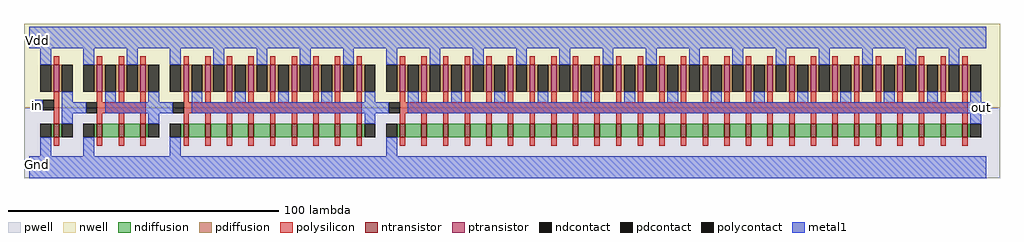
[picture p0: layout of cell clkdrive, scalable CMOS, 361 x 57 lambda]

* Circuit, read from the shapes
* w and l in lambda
.subckt clkdrive Gnd Vdd in out
M1 n1 in Gnd VSUBS nfet w=5 l=2
M2 n2 n1 Gnd VSUBS nfet w=5 l=2
M3 n3 n1 n2 VSUBS nfet w=5 l=2
M4 n4 n1 n3 VSUBS nfet w=5 l=2
M5 n5 n4 Gnd VSUBS nfet w=5 l=2
M6 n6 n4 n5 VSUBS nfet w=5 l=2
M7 n7 n4 n6 VSUBS nfet w=5 l=2
M8 n8 n4 n7 VSUBS nfet w=5 l=2
M9 n9 n4 n8 VSUBS nfet w=5 l=2
M10 n10 n4 n9 VSUBS nfet w=5 l=2
M11 n11 n4 n10 VSUBS nfet w=5 l=2
M12 n12 n4 n11 VSUBS nfet w=5 l=2
M13 n13 n4 n12 VSUBS nfet w=5 l=2
M14 n14 n13 Gnd VSUBS nfet w=5 l=2
M15 n15 n13 n14 VSUBS nfet w=5 l=2
M16 n16 n13 n15 VSUBS nfet w=5 l=2
M17 n17 n13 n16 VSUBS nfet w=5 l=2
M18 n18 n13 n17 VSUBS nfet w=5 l=2
M19 n19 n13 n18 VSUBS nfet w=5 l=2
M20 n20 n13 n19 VSUBS nfet w=5 l=2
M21 n21 n13 n20 VSUBS nfet w=5 l=2
M22 n22 n13 n21 VSUBS nfet w=5 l=2
M23 n23 n13 n22 VSUBS nfet w=5 l=2
M24 n24 n13 n23 VSUBS nfet w=5 l=2
M25 n25 n13 n24 VSUBS nfet w=5 l=2
M26 n26 n13 n25 VSUBS nfet w=5 l=2
M27 n27 n13 n26 VSUBS nfet w=5 l=2
M28 n28 n13 n27 VSUBS nfet w=5 l=2
M29 n29 n13 n28 VSUBS nfet w=5 l=2
M30 n30 n13 n29 VSUBS nfet w=5 l=2
M31 n31 n13 n30 VSUBS nfet w=5 l=2
M32 n32 n13 n31 VSUBS nfet w=5 l=2
M33 n33 n13 n32 VSUBS nfet w=5 l=2
M34 n34 n13 n33 VSUBS nfet w=5 l=2
M35 n35 n13 n34 VSUBS nfet w=5 l=2
M36 n36 n13 n35 VSUBS nfet w=5 l=2
M37 n37 n13 n36 VSUBS nfet w=5 l=2
M38 n38 n13 n37 VSUBS nfet w=5 l=2
M39 n39 n13 n38 VSUBS nfet w=5 l=2
M40 out n13 n39 VSUBS nfet w=5 l=2
M41 n1 in Vdd n40 pfet w=10 l=2
M42 n4 n1 Vdd n40 pfet w=10 l=2 m=3
M43 n13 n4 Vdd n40 pfet w=10 l=2 m=9
M44 out n13 Vdd n40 pfet w=10 l=2 m=27
.ends

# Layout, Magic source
magic
tech scmos
<< nwell >>
rect -35 1 326 32
<< pwell >>
rect -35 -25 326 1
<< ntransistor >>
rect -24 -10 -22 -5
rect -8 -10 -6 -5
rect 0 -10 2 -5
rect 8 -10 10 -5
rect 24 -10 26 -5
rect 32 -10 34 -5
rect 40 -10 42 -5
rect 48 -10 50 -5
rect 56 -10 58 -5
rect 64 -10 66 -5
rect 72 -10 74 -5
rect 80 -10 82 -5
rect 88 -10 90 -5
rect 104 -10 106 -5
rect 112 -10 114 -5
rect 120 -10 122 -5
rect 128 -10 130 -5
rect 136 -10 138 -5
rect 144 -10 146 -5
rect 152 -10 154 -5
rect 160 -10 162 -5
rect 168 -10 170 -5
rect 176 -10 178 -5
rect 184 -10 186 -5
rect 192 -10 194 -5
rect 200 -10 202 -5
rect 208 -10 210 -5
rect 216 -10 218 -5
rect 224 -10 226 -5
rect 232 -10 234 -5
rect 240 -10 242 -5
rect 248 -10 250 -5
rect 256 -10 258 -5
rect 264 -10 266 -5
rect 272 -10 274 -5
rect 280 -10 282 -5
rect 288 -10 290 -5
rect 296 -10 298 -5
rect 304 -10 306 -5
rect 312 -10 314 -5
<< ptransistor >>
rect -24 7 -22 17
rect -8 7 -6 17
rect 0 7 2 17
rect 8 7 10 17
rect 24 7 26 17
rect 32 7 34 17
rect 40 7 42 17
rect 48 7 50 17
rect 56 7 58 17
rect 64 7 66 17
rect 72 7 74 17
rect 80 7 82 17
rect 88 7 90 17
rect 104 7 106 17
rect 112 7 114 17
rect 120 7 122 17
rect 128 7 130 17
rect 136 7 138 17
rect 144 7 146 17
rect 152 7 154 17
rect 160 7 162 17
rect 168 7 170 17
rect 176 7 178 17
rect 184 7 186 17
rect 192 7 194 17
rect 200 7 202 17
rect 208 7 210 17
rect 216 7 218 17
rect 224 7 226 17
rect 232 7 234 17
rect 240 7 242 17
rect 248 7 250 17
rect 256 7 258 17
rect 264 7 266 17
rect 272 7 274 17
rect 280 7 282 17
rect 288 7 290 17
rect 296 7 298 17
rect 304 7 306 17
rect 312 7 314 17
<< ndiffusion >>
rect -25 -10 -24 -5
rect -22 -10 -21 -5
rect -9 -10 -8 -5
rect -6 -10 0 -5
rect 2 -10 8 -5
rect 10 -10 11 -5
rect 23 -10 24 -5
rect 26 -10 32 -5
rect 34 -10 40 -5
rect 42 -10 48 -5
rect 50 -10 56 -5
rect 58 -10 64 -5
rect 66 -10 72 -5
rect 74 -10 80 -5
rect 82 -10 88 -5
rect 90 -10 91 -5
rect 103 -10 104 -5
rect 106 -10 112 -5
rect 114 -10 120 -5
rect 122 -10 128 -5
rect 130 -10 136 -5
rect 138 -10 144 -5
rect 146 -10 152 -5
rect 154 -10 160 -5
rect 162 -10 168 -5
rect 170 -10 176 -5
rect 178 -10 184 -5
rect 186 -10 192 -5
rect 194 -10 200 -5
rect 202 -10 208 -5
rect 210 -10 216 -5
rect 218 -10 224 -5
rect 226 -10 232 -5
rect 234 -10 240 -5
rect 242 -10 248 -5
rect 250 -10 256 -5
rect 258 -10 264 -5
rect 266 -10 272 -5
rect 274 -10 280 -5
rect 282 -10 288 -5
rect 290 -10 296 -5
rect 298 -10 304 -5
rect 306 -10 312 -5
rect 314 -10 315 -5
<< pdiffusion >>
rect -25 7 -24 17
rect -22 7 -21 17
rect -9 7 -8 17
rect -6 7 -5 17
rect -1 7 0 17
rect 2 7 3 17
rect 7 7 8 17
rect 10 7 11 17
rect 23 7 24 17
rect 26 7 27 17
rect 31 7 32 17
rect 34 7 35 17
rect 39 7 40 17
rect 42 7 43 17
rect 47 7 48 17
rect 50 7 51 17
rect 55 7 56 17
rect 58 7 59 17
rect 63 7 64 17
rect 66 7 67 17
rect 71 7 72 17
rect 74 7 75 17
rect 79 7 80 17
rect 82 7 83 17
rect 87 7 88 17
rect 90 7 91 17
rect 103 7 104 17
rect 106 7 107 17
rect 111 7 112 17
rect 114 7 115 17
rect 119 7 120 17
rect 122 7 123 17
rect 127 7 128 17
rect 130 7 131 17
rect 135 7 136 17
rect 138 7 139 17
rect 143 7 144 17
rect 146 7 147 17
rect 151 7 152 17
rect 154 7 155 17
rect 159 7 160 17
rect 162 7 163 17
rect 167 7 168 17
rect 170 7 171 17
rect 175 7 176 17
rect 178 7 179 17
rect 183 7 184 17
rect 186 7 187 17
rect 191 7 192 17
rect 194 7 195 17
rect 199 7 200 17
rect 202 7 203 17
rect 207 7 208 17
rect 210 7 211 17
rect 215 7 216 17
rect 218 7 219 17
rect 223 7 224 17
rect 226 7 227 17
rect 231 7 232 17
rect 234 7 235 17
rect 239 7 240 17
rect 242 7 243 17
rect 247 7 248 17
rect 250 7 251 17
rect 255 7 256 17
rect 258 7 259 17
rect 263 7 264 17
rect 266 7 267 17
rect 271 7 272 17
rect 274 7 275 17
rect 279 7 280 17
rect 282 7 283 17
rect 287 7 288 17
rect 290 7 291 17
rect 295 7 296 17
rect 298 7 299 17
rect 303 7 304 17
rect 306 7 307 17
rect 311 7 312 17
rect 314 7 315 17
<< ndcontact >>
rect -29 -10 -25 -5
rect -21 -10 -17 -5
rect -13 -10 -9 -5
rect 11 -10 15 -5
rect 19 -10 23 -5
rect 91 -10 95 -5
rect 99 -10 103 -5
rect 315 -10 319 -5
<< pdcontact >>
rect -29 7 -25 17
rect -21 7 -17 17
rect -13 7 -9 17
rect -5 7 -1 17
rect 3 7 7 17
rect 11 7 15 17
rect 19 7 23 17
rect 27 7 31 17
rect 35 7 39 17
rect 43 7 47 17
rect 51 7 55 17
rect 59 7 63 17
rect 67 7 71 17
rect 75 7 79 17
rect 83 7 87 17
rect 91 7 95 17
rect 99 7 103 17
rect 107 7 111 17
rect 115 7 119 17
rect 123 7 127 17
rect 131 7 135 17
rect 139 7 143 17
rect 147 7 151 17
rect 155 7 159 17
rect 163 7 167 17
rect 171 7 175 17
rect 179 7 183 17
rect 187 7 191 17
rect 195 7 199 17
rect 203 7 207 17
rect 211 7 215 17
rect 219 7 223 17
rect 227 7 231 17
rect 235 7 239 17
rect 243 7 247 17
rect 251 7 255 17
rect 259 7 263 17
rect 267 7 271 17
rect 275 7 279 17
rect 283 7 287 17
rect 291 7 295 17
rect 299 7 303 17
rect 307 7 311 17
rect 315 7 319 17
<< polysilicon >>
rect -24 17 -22 20
rect -8 17 -6 20
rect 0 17 2 20
rect 8 17 10 20
rect 24 17 26 20
rect 32 17 34 20
rect 40 17 42 20
rect 48 17 50 20
rect 56 17 58 20
rect 64 17 66 20
rect 72 17 74 20
rect 80 17 82 20
rect 88 17 90 20
rect 104 17 106 20
rect 112 17 114 20
rect 120 17 122 20
rect 128 17 130 20
rect 136 17 138 20
rect 144 17 146 20
rect 152 17 154 20
rect 160 17 162 20
rect 168 17 170 20
rect 176 17 178 20
rect 184 17 186 20
rect 192 17 194 20
rect 200 17 202 20
rect 208 17 210 20
rect 216 17 218 20
rect 224 17 226 20
rect 232 17 234 20
rect 240 17 242 20
rect 248 17 250 20
rect 256 17 258 20
rect 264 17 266 20
rect 272 17 274 20
rect 280 17 282 20
rect 288 17 290 20
rect 296 17 298 20
rect 304 17 306 20
rect 312 17 314 20
rect -24 -5 -22 7
rect -8 3 -6 7
rect 0 3 2 7
rect 8 3 10 7
rect 24 3 26 7
rect 32 3 34 7
rect 40 3 42 7
rect 48 3 50 7
rect 56 3 58 7
rect 64 3 66 7
rect 72 3 74 7
rect 80 3 82 7
rect 88 3 90 7
rect 104 3 106 7
rect 112 3 114 7
rect 120 3 122 7
rect 128 3 130 7
rect 136 3 138 7
rect 144 3 146 7
rect 152 3 154 7
rect 160 3 162 7
rect 168 3 170 7
rect 176 3 178 7
rect 184 3 186 7
rect 192 3 194 7
rect 200 3 202 7
rect 208 3 210 7
rect 216 3 218 7
rect 224 3 226 7
rect 232 3 234 7
rect 240 3 242 7
rect 248 3 250 7
rect 256 3 258 7
rect 264 3 266 7
rect 272 3 274 7
rect 280 3 282 7
rect 288 3 290 7
rect 296 3 298 7
rect 304 3 306 7
rect 312 3 314 7
rect -8 -1 10 3
rect 24 -1 90 3
rect 104 -1 314 3
rect -8 -5 -6 -1
rect 0 -5 2 -1
rect 8 -5 10 -1
rect 24 -5 26 -1
rect 32 -5 34 -1
rect 40 -5 42 -1
rect 48 -5 50 -1
rect 56 -5 58 -1
rect 64 -5 66 -1
rect 72 -5 74 -1
rect 80 -5 82 -1
rect 88 -5 90 -1
rect 104 -5 106 -1
rect 112 -5 114 -1
rect 120 -5 122 -1
rect 128 -5 130 -1
rect 136 -5 138 -1
rect 144 -5 146 -1
rect 152 -5 154 -1
rect 160 -5 162 -1
rect 168 -5 170 -1
rect 176 -5 178 -1
rect 184 -5 186 -1
rect 192 -5 194 -1
rect 200 -5 202 -1
rect 208 -5 210 -1
rect 216 -5 218 -1
rect 224 -5 226 -1
rect 232 -5 234 -1
rect 240 -5 242 -1
rect 248 -5 250 -1
rect 256 -5 258 -1
rect 264 -5 266 -1
rect 272 -5 274 -1
rect 280 -5 282 -1
rect 288 -5 290 -1
rect 296 -5 298 -1
rect 304 -5 306 -1
rect 312 -5 314 -1
rect -24 -13 -22 -10
rect -8 -13 -6 -10
rect 0 -13 2 -10
rect 8 -13 10 -10
rect 24 -13 26 -10
rect 32 -13 34 -10
rect 40 -13 42 -10
rect 48 -13 50 -10
rect 56 -13 58 -10
rect 64 -13 66 -10
rect 72 -13 74 -10
rect 80 -13 82 -10
rect 88 -13 90 -10
rect 104 -13 106 -10
rect 112 -13 114 -10
rect 120 -13 122 -10
rect 128 -13 130 -10
rect 136 -13 138 -10
rect 144 -13 146 -10
rect 152 -13 154 -10
rect 160 -13 162 -10
rect 168 -13 170 -10
rect 176 -13 178 -10
rect 184 -13 186 -10
rect 192 -13 194 -10
rect 200 -13 202 -10
rect 208 -13 210 -10
rect 216 -13 218 -10
rect 224 -13 226 -10
rect 232 -13 234 -10
rect 240 -13 242 -10
rect 248 -13 250 -10
rect 256 -13 258 -10
rect 264 -13 266 -10
rect 272 -13 274 -10
rect 280 -13 282 -10
rect 288 -13 290 -10
rect 296 -13 298 -10
rect 304 -13 306 -10
rect 312 -13 314 -10
<< polycontact >>
rect -28 0 -24 4
rect -12 -1 -8 3
rect 20 -1 24 3
rect 100 -1 104 3
<< metal1 >>
rect -33 23 321 31
rect -29 17 -25 23
rect -13 17 -9 23
rect 3 17 7 23
rect 19 17 23 23
rect 35 17 39 23
rect 51 17 55 23
rect 67 17 71 23
rect 83 17 87 23
rect 99 17 103 23
rect 115 17 119 23
rect 131 17 135 23
rect 147 17 151 23
rect 163 17 167 23
rect 179 17 183 23
rect 195 17 199 23
rect 211 17 215 23
rect 227 17 231 23
rect 243 17 247 23
rect 259 17 263 23
rect 275 17 279 23
rect 291 17 295 23
rect 307 17 311 23
rect -31 0 -28 4
rect -21 3 -17 7
rect -5 3 -1 7
rect 11 3 15 7
rect 27 3 31 7
rect 43 3 47 7
rect 59 3 63 7
rect 75 3 79 7
rect 91 3 95 7
rect 107 3 111 7
rect 123 3 127 7
rect 139 3 143 7
rect 155 3 159 7
rect 171 3 175 7
rect 187 3 191 7
rect 203 3 207 7
rect 219 3 223 7
rect 235 3 239 7
rect 251 3 255 7
rect 267 3 271 7
rect 283 3 287 7
rect 299 3 303 7
rect 315 3 319 7
rect -21 -1 -12 3
rect -5 -1 20 3
rect 27 -1 100 3
rect 107 -1 321 3
rect -21 -5 -17 -1
rect 11 -5 15 -1
rect 91 -5 95 -1
rect 315 -5 319 -1
rect -29 -17 -25 -10
rect -13 -17 -9 -10
rect 19 -17 23 -10
rect 99 -17 103 -10
rect -33 -25 321 -17
<< labels >>
rlabel metal1 -30 26 -30 26 3 Vdd
rlabel metal1 -30 -20 -30 -20 2 Gnd
rlabel metal1 319 1 319 1 1 out
rlabel metal1 -30 2 -30 2 3 in
<< end >>
